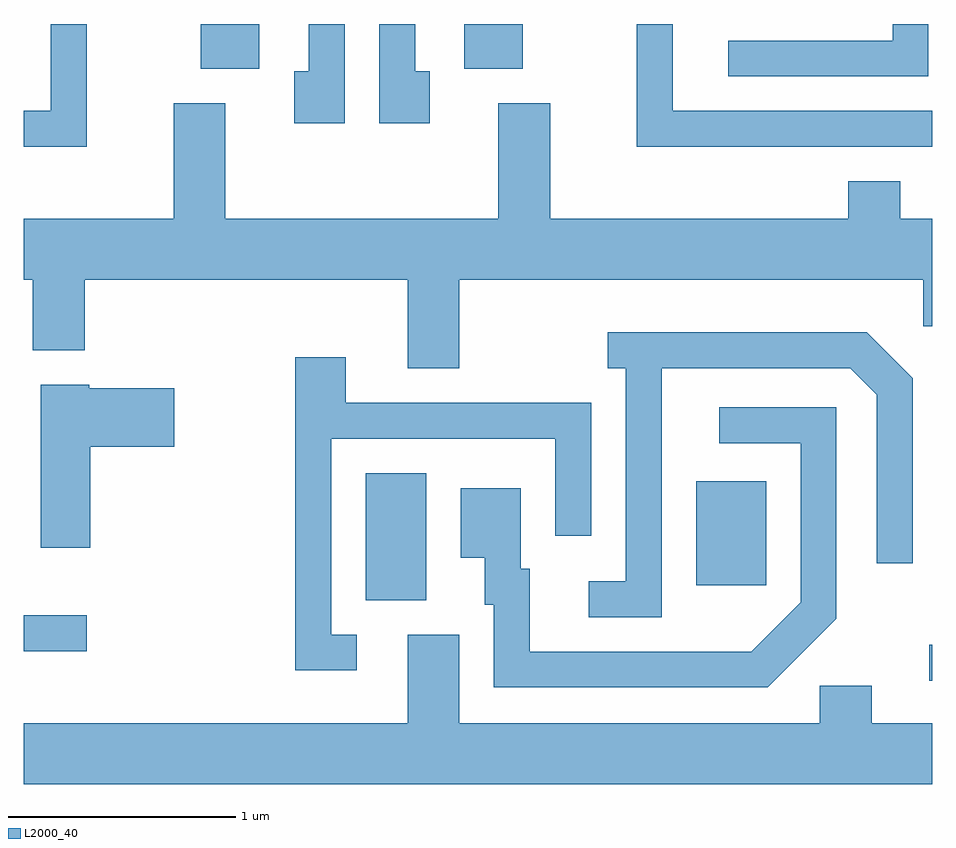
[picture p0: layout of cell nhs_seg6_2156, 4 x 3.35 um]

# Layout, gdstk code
import gdstk
lib = gdstk.Library(unit=1e-6, precision=1e-09)
def R(c, l, rs):  # rectangles x0, y0, x1, y1
    for r in rs: c.add(gdstk.rectangle(r[:2], r[2:], *l))
def P(c, l, *ps):  # polygons
    for p in ps: c.add(gdstk.Polygon(p, *l))
L2000_40 = (2000, 40)

nhs_seg6_2156 = lib.new_cell('nhs_seg6_2156')
R(nhs_seg6_2156, L2000_40, [(253.598,1659.271,253.611,1659.429), (249.611,1659.401,249.888,1659.559), (251.116,1659.626,251.384,1660.184), (252.571,1659.691,252.879,1660.149), (250.391,1661.966,250.649,1662.162), (251.551,1661.966,251.809,1662.162)])
P(nhs_seg6_2156, L2000_40, [(249.889,1662.162),(249.731,1662.162),(249.731,1661.779),(249.611,1661.779),(249.611,1661.621),(249.889,1661.621)],
  [(253.594,1662.162),(253.436,1662.162),(253.436,1662.089),(252.713,1662.089),(252.713,1661.931),(253.594,1661.931)],
  [(251.399,1661.954),(251.334,1661.954),(251.334,1662.162),(251.176,1662.162),(251.176,1661.726),(251.399,1661.726)],
  [(253.611,1661.779),(252.469,1661.779),(252.469,1662.162),(252.311,1662.162),(252.311,1661.621),(253.611,1661.621)],
  [(251.024,1662.162),(250.866,1662.162),(250.866,1661.954),(250.801,1661.954),(250.801,1661.726),(251.024,1661.726)],
  [(251.529,1661.036),(253.571,1661.036),(253.571,1660.831),(253.611,1660.831),(253.611,1661.304),(253.469,1661.304),(253.469,1661.469),(253.241,1661.469),(253.241,1661.304),(251.929,1661.304),(251.929,1661.814),(251.701,1661.814),(251.701,1661.304),(250.499,1661.304),(250.499,1661.814),(250.271,1661.814),(250.271,1661.304),(249.611,1661.304),(249.611,1661.036),(249.651,1661.036),(249.651,1660.726),(249.879,1660.726),(249.879,1661.036),(251.301,1661.036),(251.301,1660.646),(251.529,1660.646)],
  [(252.419,1660.646),(253.249,1660.646),(253.366,1660.529),(253.366,1659.788),(253.524,1659.788),(253.524,1660.602),(253.322,1660.804),(252.183,1660.804),(252.183,1660.646),(252.261,1660.646),(252.261,1659.709),(252.098,1659.709),(252.098,1659.551),(252.419,1659.551)],
  [(251.078,1659.474),(250.964,1659.474),(250.964,1660.336),(251.951,1660.336),(251.951,1659.908),(252.109,1659.908),(252.109,1660.494),(251.029,1660.494),(251.029,1660.694),(250.806,1660.694),(250.806,1659.316),(251.078,1659.316)],
  [(249.904,1660.301),(250.274,1660.301),(250.274,1660.559),(249.9,1660.559),(249.9,1660.574),(249.686,1660.574),(249.686,1659.856),(249.904,1659.856)],
  [(253.189,1659.544),(253.189,1660.474),(252.673,1660.474),(252.673,1660.316),(253.031,1660.316),(253.031,1659.617),(252.814,1659.399),(251.839,1659.399),(251.839,1659.764),(251.799,1659.764),(251.799,1660.119),(251.536,1660.119),(251.536,1659.811),(251.641,1659.811),(251.641,1659.606),(251.681,1659.606),(251.681,1659.241),(252.887,1659.241)],
  [(253.611,1659.084),(253.344,1659.084),(253.344,1659.249),(253.116,1659.249),(253.116,1659.084),(251.529,1659.084),(251.529,1659.474),(251.301,1659.474),(251.301,1659.084),(249.611,1659.084),(249.611,1658.816),(253.611,1658.816)])

lib.write_gds('nhs_seg6_2156.gds')
